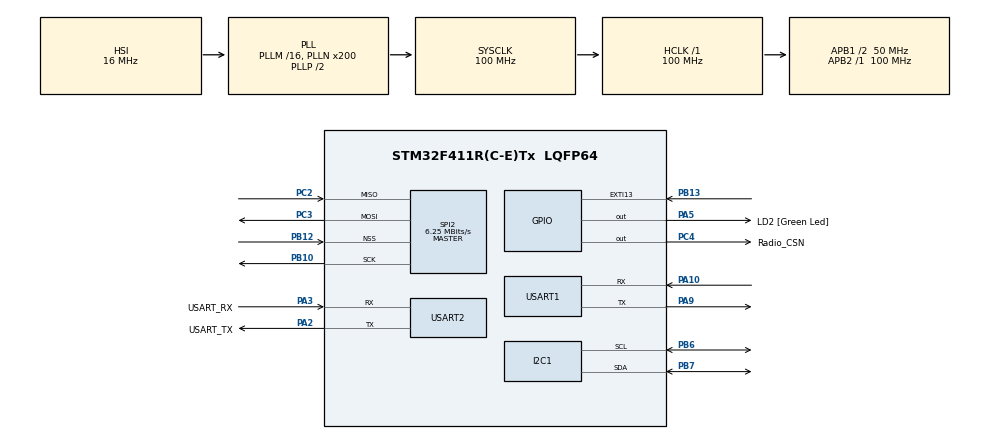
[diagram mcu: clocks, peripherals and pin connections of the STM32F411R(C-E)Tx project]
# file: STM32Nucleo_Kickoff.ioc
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Mcu.Family=STM32F4
Mcu.Name=STM32F411R(C-E)Tx
Mcu.Package=LQFP64
NVIC.EXTI15_10_IRQn=true\:0\:0\:false\:false\:true\:true\:true\:true
NVIC.PriorityGroup=NVIC_PRIORITYGROUP_0
PA10.Mode=Asynchronous
PA10.Signal=USART1_RX
PA13.GPIO_Label=TMS
PA13.Mode=Trace_Asynchronous_SW
PA13.Signal=SYS_JTMS-SWDIO
PA14.GPIO_Label=TCK
PA14.Mode=Trace_Asynchronous_SW
PA14.Signal=SYS_JTCK-SWCLK
PA2.GPIO_Label=USART_TX
PA2.Mode=Asynchronous
PA2.Signal=USART2_TX
PA3.GPIO_Label=USART_RX
PA3.Mode=Asynchronous
PA3.Signal=USART2_RX
PA5.GPIO_Label=LD2 [Green Led]
PA5.Signal=GPIO_Output
PA9.Mode=Asynchronous
PA9.Signal=USART1_TX
PB10.Mode=Full_Duplex_Master
PB10.Signal=SPI2_SCK
PB12.Mode=NSS_Signal_Hard_Input
PB12.Signal=SPI2_NSS
PB13.GPIO_ModeDefaultEXTI=GPIO_MODE_IT_FALLING
PB13.Signal=GPXTI13
PB3.GPIO_Label=SWO
PB3.Mode=Trace_Asynchronous_SW
PB3.Signal=SYS_JTDO-SWO
PB6.Mode=I2C
PB6.Signal=I2C1_SCL
PB7.Mode=I2C
PB7.Signal=I2C1_SDA
PC14-OSC32_IN.Signal=RCC_OSC32_IN
PC15-OSC32_OUT.Signal=RCC_OSC32_OUT
PC2.Mode=Full_Duplex_Master
PC2.Signal=SPI2_MISO
PC3.Mode=Full_Duplex_Master
PC3.Signal=SPI2_MOSI
PC4.GPIO_Label=Radio_CSN
PC4.GPIO_PuPd=GPIO_NOPULL
PC4.GPIO_Speed=GPIO_SPEED_FREQ_HIGH
PC4.Signal=GPIO_Output
PH0\ -\ OSC_IN.Signal=RCC_OSC_IN
PH1\ -\ OSC_OUT.Signal=RCC_OSC_OUT
ProjectManager.HeapSize=0x200
ProjectManager.StackSize=0x400
ProjectManager.TargetToolchain=Makefile
RCC.48MHZClocksFreq_Value=50000000
RCC.AHBFreq_Value=100000000
RCC.APB1CLKDivider=RCC_HCLK_DIV2
RCC.APB1Freq_Value=50000000
RCC.APB1TimFreq_Value=100000000
RCC.APB2Freq_Value=100000000
RCC.APB2TimFreq_Value=100000000
RCC.CortexFreq_Value=100000000
RCC.FLatency-AdvancedSettings=FLASH_LATENCY_3
RCC.HCLKFreq_Value=100000000
RCC.HSE_VALUE=8000000
RCC.HSI_VALUE=16000000
RCC.LSE_VALUE=32768
RCC.PLLN=200
RCC.SYSCLKFreq_VALUE=100000000
RCC.SYSCLKSource=RCC_SYSCLKSOURCE_PLLCLK
RCC.VCOOutputFreq_Value=200000000
SPI2.BaudRatePrescaler=SPI_BAUDRATEPRESCALER_8
SPI2.CalculateBaudRate=6.25 MBits/s
SPI2.Direction=SPI_DIRECTION_2LINES
SPI2.Mode=SPI_MODE_MASTER
SPI2.VirtualNSS=VM_NSSHARD
SPI2.VirtualType=VM_MASTER
USART1.VirtualMode=VM_ASYNC
USART2.VirtualMode=VM_ASYNC
board=NUCLEO-F411RE

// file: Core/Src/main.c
/* USER CODE BEGIN Header */
/**
  ******************************************************************************
  * @file           : main.c
  * @brief          : Main program body
  ******************************************************************************
  * @attention
  *
  * Copyright (c) 2023 STMicroelectronics.
  * All rights reserved.
  *
  * This software is licensed under terms that can be found in the LICENSE file
  * in the root directory of this software component.
  * If no LICENSE file comes with this software, it is provided AS-IS.
  *
  ******************************************************************************
  */
/* USER CODE END Header */
#include "main.h"
#include "i2c.h"
#include "spi.h"
#include "usart.h"
#include "gpio.h"

/* USER CODE BEGIN Includes */
#include <stdio.h>
/* USER CODE END Includes */

/* USER CODE BEGIN PD */
#define PREV_STATE_ON   1
#define PREV_STATE_OFF  0
/* USER CODE END PD */

/* USER CODE BEGIN PV */
static const uint32_t PERIOD = 300;
static uint32_t prev_ticks = 0;
static uint32_t new_ticks;

static char buff_to_debug[256];

int prev_state;
/* USER CODE END PV */

void SystemClock_Config(void);
/* USER CODE BEGIN PFP */
void print_hex_SWO_SWD(int, char *);
int print_long_val_SWO_SWD(long value, char* converted);
int print_text_SWO_SWD(char *);
/* USER CODE END PFP */

/* USER CODE BEGIN 0 */
void print_hex_SWO_SWD(int count, char *bufptr){
    int iter;
    char value, hi_nibble, lo_nibble;

    for (iter = 0; iter < count; iter++){
        value = *(bufptr+iter);

        hi_nibble = (value &0xf0)>>4;
        lo_nibble = value &0x0f;

        ITM_SendChar('0');
        ITM_SendChar('x');
        (hi_nibble>9)?ITM_SendChar((hi_nibble - 10)+'A'):ITM_SendChar(hi_nibble + '0');
        (lo_nibble>9)?ITM_SendChar((lo_nibble - 10)+'A'):ITM_SendChar(lo_nibble + '0');
        ITM_SendChar(' ');
    }
}

int print_long_val_SWO_SWD(long value, char* converted){
    return snprintf(converted, 21, "%ld", value);
}

int print_text_SWO_SWD(char *text){
    int count = 0;

    while(*text){
        ITM_SendChar(*text++);
        count++;
    }
   return count;
}
/* USER CODE END 0 */

int main(void)
{

  /* MCU Configuration--------------------------------------------------------*/

  /* Reset of all peripherals, Initializes the Flash interface and the Systick. */
  HAL_Init();

  /* Configure the system clock */
  SystemClock_Config();

  /* Initialize all configured peripherals */
  MX_GPIO_Init();
  MX_USART2_UART_Init();
  MX_I2C1_Init();
  MX_SPI2_Init();
  MX_USART1_UART_Init();
  /* USER CODE BEGIN 2 */
  prev_state = PREV_STATE_OFF;
  /* USER CODE END 2 */

  /* Infinite loop */
  /* USER CODE BEGIN WHILE */
  while (1)
  {
      // Inspired by: https://github.com/PascalBod/stm32-swv
      new_ticks = HAL_GetTick() / PERIOD;
      if (new_ticks > prev_ticks) {
          prev_ticks = new_ticks;
          // print_text_SWO_SWD("Test\n");
          // print_hex_SWO_SWD(8, "ABCDEFGH");
          // print_long_val_SWO_SWD(213742069,buff_to_debug);
          // snprintf(buff_to_debug, 256, "#GRN# na zielono\n");
          // print_text_SWO_SWD(buff_to_debug);
          // snprintf(buff_to_debug, 256, "#RED# na czerwono\n");
          // print_text_SWO_SWD(buff_to_debug);
          // snprintf(buff_to_debug, 256, "#ORG# na pomarańczowo\n");
          // print_text_SWO_SWD(buff_to_debug);

          // print_text_SWO_SWD("\n");
      }
    /* USER CODE END WHILE */

    /* USER CODE BEGIN 3 */
      // prev_state
      // #define PREV_STATE_ON
      // #define PREV_STATE_OFF

      if (HAL_GPIO_ReadPin(B1_GPIO_Port, B1_Pin)==GPIO_PIN_RESET){
          HAL_GPIO_WritePin(LD2_GPIO_Port, LD2_Pin, GPIO_PIN_SET);
          if (PREV_STATE_OFF==prev_state){
              print_long_val_SWO_SWD(new_ticks, buff_to_debug);
              print_text_SWO_SWD(buff_to_debug);

              snprintf(buff_to_debug, 256, "#RED#: załączona\n");
              print_text_SWO_SWD(buff_to_debug);
              prev_state = PREV_STATE_ON;
          }
      }
      else {
          HAL_GPIO_WritePin(LD2_GPIO_Port, LD2_Pin, GPIO_PIN_RESET);
          if (PREV_STATE_ON == prev_state){
              print_long_val_SWO_SWD(new_ticks, buff_to_debug);
              print_text_SWO_SWD(buff_to_debug);

              snprintf(buff_to_debug, 256, "#GRN#: wyłączona\n");
              print_text_SWO_SWD(buff_to_debug);
              prev_state = PREV_STATE_OFF;

          }

      }
  }
  /* USER CODE END 3 */
}

void SystemClock_Config(void)
{
  RCC_OscInitTypeDef RCC_OscInitStruct = {0};
  RCC_ClkInitTypeDef RCC_ClkInitStruct = {0};

  /** Configure the main internal regulator output voltage
  */
  __HAL_RCC_PWR_CLK_ENABLE();
  __HAL_PWR_VOLTAGESCALING_CONFIG(PWR_REGULATOR_VOLTAGE_SCALE1);

  /** Initializes the RCC Oscillators according to the specified parameters
  * in the RCC_OscInitTypeDef structure.
  */
  RCC_OscInitStruct.OscillatorType = RCC_OSCILLATORTYPE_HSI;
  RCC_OscInitStruct.HSIState = RCC_HSI_ON;
  RCC_OscInitStruct.HSICalibrationValue = RCC_HSICALIBRATION_DEFAULT;
  RCC_OscInitStruct.PLL.PLLState = RCC_PLL_ON;
  RCC_OscInitStruct.PLL.PLLSource = RCC_PLLSOURCE_HSI;
  RCC_OscInitStruct.PLL.PLLM = 16;
  RCC_OscInitStruct.PLL.PLLN = 200;
  RCC_OscInitStruct.PLL.PLLP = RCC_PLLP_DIV2;
  RCC_OscInitStruct.PLL.PLLQ = 4;
  if (HAL_RCC_OscConfig(&RCC_OscInitStruct) != HAL_OK)
  {
    Error_Handler();
  }

  /** Initializes the CPU, AHB and APB buses clocks
  */
  RCC_ClkInitStruct.ClockType = RCC_CLOCKTYPE_HCLK|RCC_CLOCKTYPE_SYSCLK
                              |RCC_CLOCKTYPE_PCLK1|RCC_CLOCKTYPE_PCLK2;
  RCC_ClkInitStruct.SYSCLKSource = RCC_SYSCLKSOURCE_PLLCLK;
  RCC_ClkInitStruct.AHBCLKDivider = RCC_SYSCLK_DIV1;
  RCC_ClkInitStruct.APB1CLKDivider = RCC_HCLK_DIV2;
  RCC_ClkInitStruct.APB2CLKDivider = RCC_HCLK_DIV1;

  if (HAL_RCC_ClockConfig(&RCC_ClkInitStruct, FLASH_LATENCY_3) != HAL_OK)
  {
    Error_Handler();
  }
}

void Error_Handler(void)
{
  __disable_irq();
  while (1)
  {
  }
}
